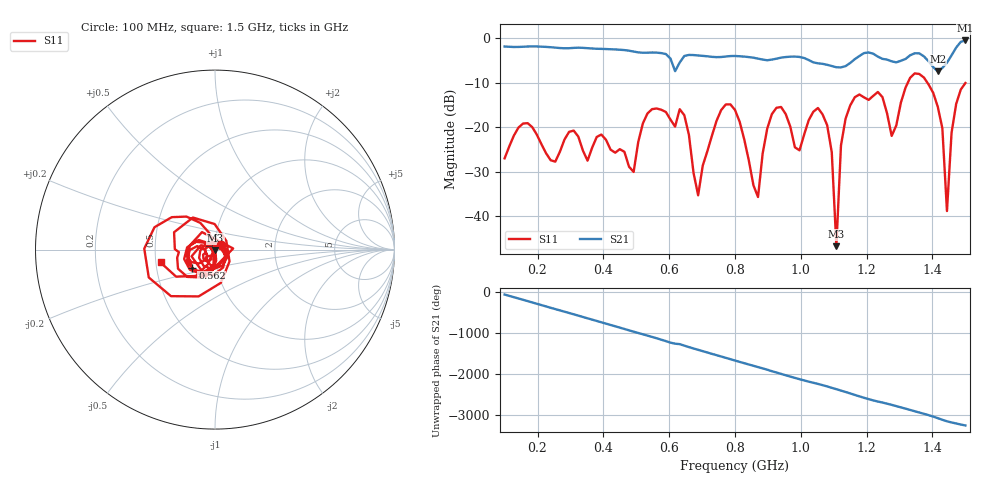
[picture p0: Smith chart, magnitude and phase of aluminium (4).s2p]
! NanoVNA-App
! Date: 2025-09-25 14:55:18
! Start: 100MHz Stop: 1,5GHz Points: 101
! S-Parameter data: F S11 S21 S12 S22
# Hz S RI R 50
!  Frequency  S11_Real  S11_Imag  S21_Real  S21_Imag  S12_Real  S12_Imag  S22_Real  S22_Imag
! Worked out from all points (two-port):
!   101 points, 100 MHz to 1.5 GHz, reference 50 ohm
!   highest |S21| = -0.57 dB at 1.5 GHz (marker M1); lowest = -7.5 dB at 1.416 GHz (marker M2)
!   |S21| within 3 dB of the highest: start of sweep to 586.9 MHz; 1.188 GHz to 1.221 GHz (32.27 MHz wide, 2.68 % of centre) (the widest 2 of 4)
!   lowest |S11| = -46.7 dB at 1.108 GHz (marker M3), VSWR 1.01, Z = 50.2 - j0.419 ohm
!   |S11| at or under -10 dB: start of sweep to 1.325 GHz; 1.384 GHz to end of sweep
!   S12 and S22 are empty: the file has one direction only
!   S11 on the Smith chart (normalised r, x): 100 MHz: 1.07, +0.06; 562 MHz: 0.76, -0.16; 1.5 GHz: 0.53, -0.08
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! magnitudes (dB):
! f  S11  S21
! 100 MHz  -27.0  -1.9
! 338 MHz  -25.3  -2.2
! 492 MHz  -30.1  -3.1
! 562 MHz  -15.8  -3.3
! 576 MHz  -16.1  -3.4
! 646 MHz  -17.3  -4.0
! 688 MHz  -35.3  -3.9
! 800 MHz  -16.2  -4.0
! 870 MHz  -35.7  -4.6
! 912 MHz  -17.1  -4.9
! 996 MHz  -25.2  -4.3
! 1.038 GHz  -16.6  -5.5
! 1.08 GHz  -19.6  -6.0
! 1.108 GHz  -46.7  -6.6
! 1.122 GHz  -24.1  -6.6
! 1.15 GHz  -15.1  -5.6
! 1.276 GHz  -22.0  -5.2
! 1.346 GHz  -8.0  -3.4
! 1.416 GHz  -15.4  -7.5
! 1.444 GHz  -38.8  -5.6
! 1.458 GHz  -21.2  -3.9
! 1.5 GHz  -10.1  -0.6
